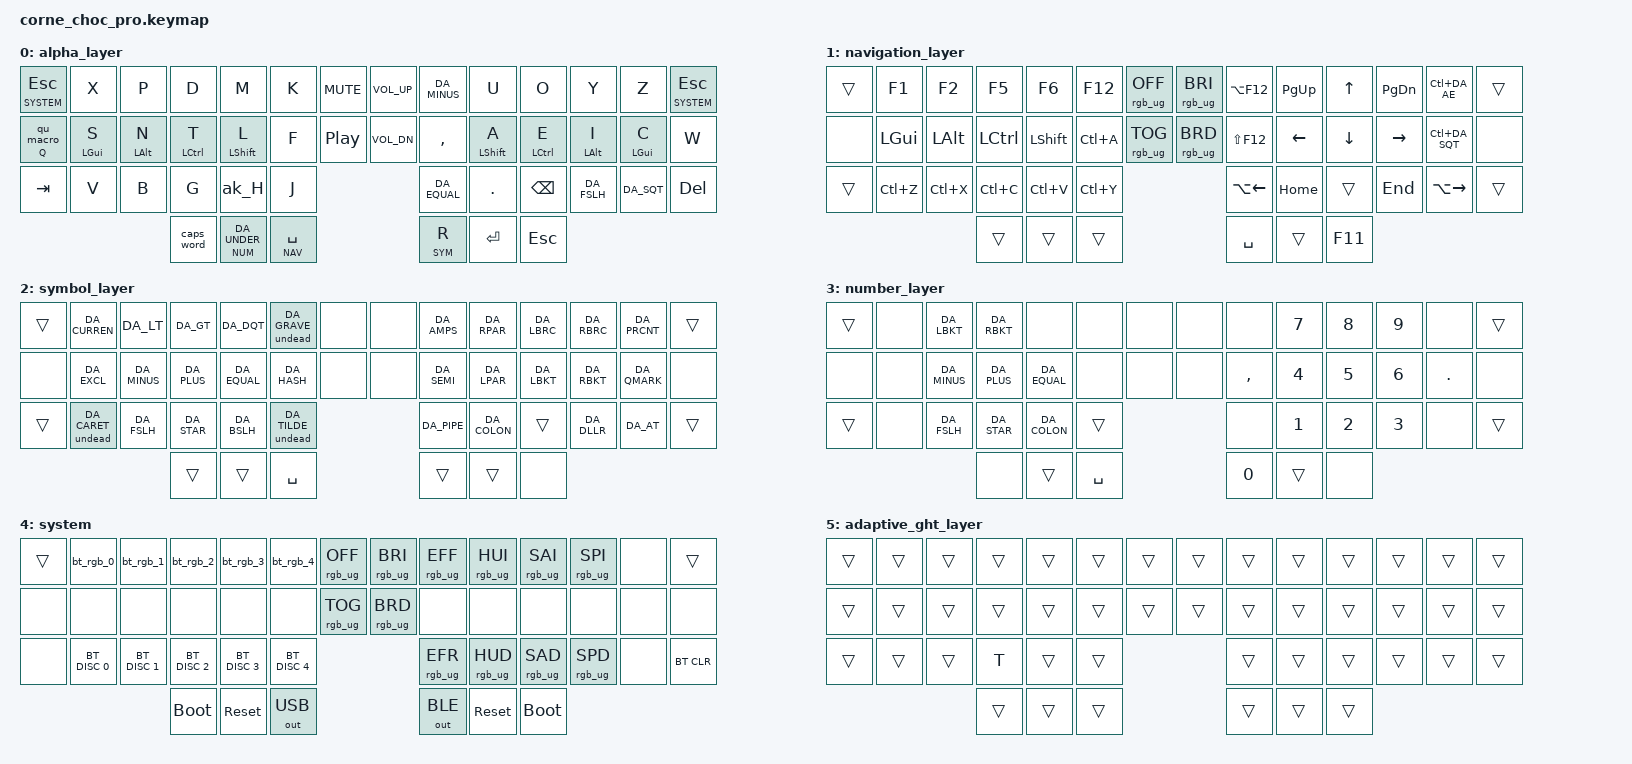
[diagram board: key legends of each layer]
/*
 * Copyright (c) 2020 The ZMK Contributors
 *
 * SPDX-License-Identifier: MIT
 */

#include <behaviors.dtsi>
#include <dt-bindings/zmk/keys.h>
#include <dt-bindings/zmk/bt.h>
#include <dt-bindings/zmk/rgb.h>
#include <dt-bindings/zmk/behaviors.h>
#include <dt-bindings/zmk/outputs.h>

#include <locale/keys_da.h> // https://github.com/joelspadin/zmk-locales/blob/main/include/locale/keys_da.h

#define ALPHA 0
#define NAV 1
#define SYM 2
#define NUM 3
#define SYSTEM 4    // Bluetooth, system settings, etc.
#define AK_GHT 5    // Adaptive key layer

// Corne key positions
// Left Half                                           Right Half
// ------------------------------------------------    -------------------------------------------
// [ 0  ] [ 1  ] [ 2  ] [ 3  ] [ 4  ] [ 5  ] [ 6  ]    [ 7  ] [ 8  ] [ 9  ] [ 10 ] [ 11 ] [ 12 ] [ 13 ]
// [ 14 ] [ 15 ] [ 16 ] [ 17 ] [ 18 ] [ 19 ] [ 20 ]    [ 21 ] [ 22 ] [ 23 ] [ 24 ] [ 25 ] [ 26 ] [ 27 ]
// [ 28 ] [ 29 ] [ 30 ] [ 31 ] [ 32 ] [ 33 ]                  [ 34 ] [ 35 ] [ 36 ] [ 37 ] [ 38 ] [ 39 ]
//                      [ 40 ] [ 41 ] [ 42 ]                  [ 43 ] [ 44 ] [ 45 ]
#define KEYS_L 0 1 2 3 4 5 6 14 15 16 17 18 19 20 28 29 30 31 32 33
#define KEYS_R 7 8 9 10 11 12 13 21 22 23 24 25 26 27 34 35 36 37 38 39
#define KEYS_T 40 41 42 43 44 45


#define COMBO_TERM 25

#define HM_TAPPING_TERM 280
#define HM_TAPPING_TERM_FAST 175
#define HM_PRIOR_IDLE 150

// https://github.com/urob/zmk-config#troubleshooting
// Noticeable delay when tapping HRMs: Increase require-prior-idle-ms. As a rule of thumb, you want to set it to at least 10500/x where x is your (relaxed) WPM for English prose.
// False negatives (same-hand): Reduce tapping-term-ms (or disable hold-trigger-key-positions)
// False negatives (cross-hand): Reduce require-prior-idle-ms (or set flavor to hold-preferred -- to continue using hold-trigger-on-release, you must apply this patch to ZMK
// False positives (same-hand): Increase tapping-term-ms
// False positives (cross-hand): Increase require-prior-idle-ms (or set flavor to tap-preferred, which requires holding HRMs past tapping term to activate)


/ {
    chosen {
        zmk,physical-layout = &default_layout;
    };
};

/ {
    combos {
        compatible = "zmk,combos";
        combo_aa {
            timeout-ms = <COMBO_TERM>;
            require-prior-idle-ms = <HM_PRIOR_IDLE>;
            key-positions = <9 23>;
            bindings = <&kp DA_A_RING>;
        };
        combo_ae {
            timeout-ms = <COMBO_TERM>;
            require-prior-idle-ms = <HM_PRIOR_IDLE>;
            key-positions = <9 10>;
            bindings = <&kp DA_AE>;
        };
        combo_oe {
            timeout-ms = <COMBO_TERM>;
            require-prior-idle-ms = <HM_PRIOR_IDLE>;
            key-positions = <10 24>;
            bindings = <&kp DA_O_SLASH>;
        };
    };
};

/ {
    macros {
        bt_rgb_0: bt_rgb_0 {
            compatible = "zmk,behavior-macro";
            #binding-cells = <0>;
            bindings = <&bt BT_SEL 0>, <&rgb_ug RGB_COLOR_HSB(36, 100, 50)>;
        };
        bt_rgb_1: bt_rgb_1 {
            compatible = "zmk,behavior-macro";
            #binding-cells = <0>;
            bindings = <&bt BT_SEL 1>, <&rgb_ug RGB_COLOR_HSB(108, 100, 50)>;
        };
        bt_rgb_2: bt_rgb_2 {
            compatible = "zmk,behavior-macro";
            #binding-cells = <0>;
            bindings = <&bt BT_SEL 2>, <&rgb_ug RGB_COLOR_HSB(180, 100, 50)>;
        };
        bt_rgb_3: bt_rgb_3 {
            compatible = "zmk,behavior-macro";
            #binding-cells = <0>;
            bindings = <&bt BT_SEL 3>, <&rgb_ug RGB_COLOR_HSB(252, 100, 50)>;
        };
        bt_rgb_4: bt_rgb_4 {
            compatible = "zmk,behavior-macro";
            #binding-cells = <0>;
            bindings = <&bt BT_SEL 4>, <&rgb_ug RGB_COLOR_HSB(324, 100, 50)>;
        };
    };
};

/ {
    behaviors {
        // System Hold
        sys_lt: system_layer_tap {
            compatible = "zmk,behavior-hold-tap";
            #binding-cells = <2>;
            flavor = "tap-preferred";
            tapping-term-ms = <2000>;   // Hold key for 2+ seconds to switch to layer
            bindings = <&mo>, <&kp>;
        };

        // Homerow Modifiers
        hml: hrm_left {
            compatible = "zmk,behavior-hold-tap";
            #binding-cells = <2>;
            flavor = "balanced";
            require-prior-idle-ms = <HM_PRIOR_IDLE>;
            tapping-term-ms = <HM_TAPPING_TERM>;
            quick-tap-ms = <HM_TAPPING_TERM_FAST>;
            bindings = <&kp>, <&kp>;
            hold-trigger-key-positions = < KEYS_R KEYS_T >; // Trigger hold when pressed with keys on opposite hand and thumb keys
            hold-trigger-on-release;
        };
        hmr: hrm_right {
            compatible = "zmk,behavior-hold-tap";
            #binding-cells = <2>;
            flavor = "balanced";
            require-prior-idle-ms = <HM_PRIOR_IDLE>;
            tapping-term-ms = <HM_TAPPING_TERM>;
            quick-tap-ms = <HM_TAPPING_TERM_FAST>;
            bindings = <&kp>, <&kp>;
            hold-trigger-key-positions = < KEYS_L KEYS_T >; // Trigger hold when pressed with keys on opposite hand and thumb keys
            hold-trigger-on-release;
        };

        // Qu key
        qu_macro: qu_macro {
            compatible = "zmk,behavior-macro";
            wait-ms = <0>;
            tap-ms = <0>;
            #binding-cells = <0>;
            bindings = <&macro_tap &kp Q &kp U>;
        };

        qu_q: q_hold_tap {
            compatible = "zmk,behavior-hold-tap";
            #binding-cells = <2>;
            flavor = "tap-preferred";
            tapping-term-ms = <HM_TAPPING_TERM>;
            bindings = <&kp>, <&qu_macro>;
        };

        // Undead keys. Press space after a dead key.
        undead: undead_macro {
            compatible = "zmk,behavior-macro-one-param";
            #binding-cells = <1>; // Must be 1
            bindings = <&macro_param_1to1>, <&macro_tap &kp MACRO_PLACEHOLDER &kp SPACE>;
        };

        // Adaptive keys
        // GHG -> GHT
        ak_H: ak_H {
            compatible = "zmk,behavior-adaptive-key";
            #binding-cells = <0>;
            bindings = <&kp H>;
            ak_GHT_to_GHG {
                trigger-keys = <G>;
                // press H followed by enabling the adaptive behavior for G by switching to AK_GHT for one press (sticky layer).
                bindings = <&kp H &sl AK_GHT>;
            };
        };
    };
};

/ {
    keymap {
        compatible = "zmk,keymap";

        alpha_layer {
            bindings = <
                &sys_lt SYSTEM ESC &kp X       &kp P       &kp D         &kp M            &kp K &kp C_MUTE            &kp C_VOL_UP &kp DA_MINUS &kp U        &kp O        &kp Y       &kp Z       &sys_lt SYSTEM ESC
                &qu_q Q 0          &hml LGUI S &hml LALT N &hml LCTRL T  &hml LSHFT L     &kp F &kp C_PP              &kp C_VOL_DN &kp COMMA    &hmr LSHFT A &hmr LCTRL E &hmr LALT I &hmr LGUI C &kp W
                &kp TAB            &kp V       &kp B       &kp G         &ak_H            &kp J                                    &kp DA_EQUAL &kp DOT      &kp BSPC     &kp DA_FSLH &kp DA_SQT  &kp DEL
                                                           &caps_word    &lt NUM DA_UNDER &lt NAV SPACE                            &lt SYM R    &kp RET      &kp ESC
            >;
        };

        navigation_layer {
            bindings = <
                &trans &kp F1    &kp F2    &kp F5    &kp F6    &kp F12   &rgb_ug RGB_OFF        &rgb_ug RGB_BRI &kp LA(F12)  &kp PG_UP &kp UP   &kp PG_DN &kp LC(DA_AE)  &trans
                &none  &kp LGUI  &kp LALT  &kp LCTRL &kp LSHFT &kp LC(A) &rgb_ug RGB_TOG        &rgb_ug RGB_BRD &kp LS(F12)  &kp LEFT  &kp DOWN &kp RIGHT &kp LC(DA_SQT) &none
                &trans &kp LC(Z) &kp LC(X) &kp LC(C) &kp LC(V) &kp LC(Y)                                        &kp LA(LEFT) &kp HOME  &trans   &kp END   &kp LA(RIGHT)  &trans
                                                     &trans    &trans    &trans                                 &kp SPACE       &trans    &kp F11
            >;
        };

        symbol_layer {
            bindings = <
                &trans &kp DA_CURREN     &kp DA_LT    &kp DA_GT   &kp DA_DQT   &undead DA_GRAVE &none            &none &kp DA_AMPS &kp DA_RPAR  &kp DA_LBRC &kp DA_RBRC &kp DA_PRCNT &trans
                &none  &kp DA_EXCL       &kp DA_MINUS &kp DA_PLUS &kp DA_EQUAL &kp DA_HASH      &none            &none &kp DA_SEMI &kp DA_LPAR  &kp DA_LBKT &kp DA_RBKT &kp DA_QMARK &none
                &trans &undead DA_CARET  &kp DA_FSLH  &kp DA_STAR &kp DA_BSLH  &undead DA_TILDE                        &kp DA_PIPE &kp DA_COLON &trans      &kp DA_DLLR &kp DA_AT    &trans
                                                      &trans      &trans       &kp SPACE                               &trans      &trans       &none
            >;
        };

        number_layer {
            bindings = <
                &trans &none &kp DA_LBKT  &kp DA_RBKT &none        &none &none            &none &none     &kp N7 &kp N8 &kp N9 &none   &trans
                &none  &none &kp DA_MINUS &kp DA_PLUS &kp DA_EQUAL &none &none            &none &kp COMMA &kp N4 &kp N5 &kp N6 &kp DOT &none
                &trans &none &kp DA_FSLH  &kp DA_STAR &kp DA_COLON &trans                       &none     &kp N1 &kp N2 &kp N3 &none   &trans
                                          &none       &trans       &kp SPACE                    &kp N0    &trans &none
            >;
        };

        system {
            bindings = <
                &trans &bt_rgb_0     &bt_rgb_1     &bt_rgb_2     &bt_rgb_3     &bt_rgb_4     &rgb_ug RGB_OFF        &rgb_ug RGB_BRI  &rgb_ug RGB_EFF &rgb_ug RGB_HUI &rgb_ug RGB_SAI &rgb_ug RGB_SPI &none  &trans
                &none  &none         &none         &none         &none         &none         &rgb_ug RGB_TOG        &rgb_ug RGB_BRD  &none           &none           &none           &none           &none  &none
                &none  &bt BT_DISC 0 &bt BT_DISC 1 &bt BT_DISC 2 &bt BT_DISC 3 &bt BT_DISC 4                                         &rgb_ug RGB_EFR &rgb_ug RGB_HUD &rgb_ug RGB_SAD &rgb_ug RGB_SPD &none  &bt BT_CLR
                                                   &bootloader   &sys_reset    &out OUT_USB                                          &out OUT_BLE    &sys_reset      &bootloader
            >;
        };

        adaptive_ght_layer {
            bindings = <
                &trans &trans &trans &trans &trans &trans &trans           &trans &trans &trans &trans &trans &trans &trans
                &trans &trans &trans &trans &trans &trans &trans           &trans &trans &trans &trans &trans &trans &trans
                &trans &trans &trans &kp T  &trans &trans                         &trans &trans &trans &trans &trans &trans
                                     &trans &trans &trans                         &trans &trans &trans
            >;
        };
    };
};
